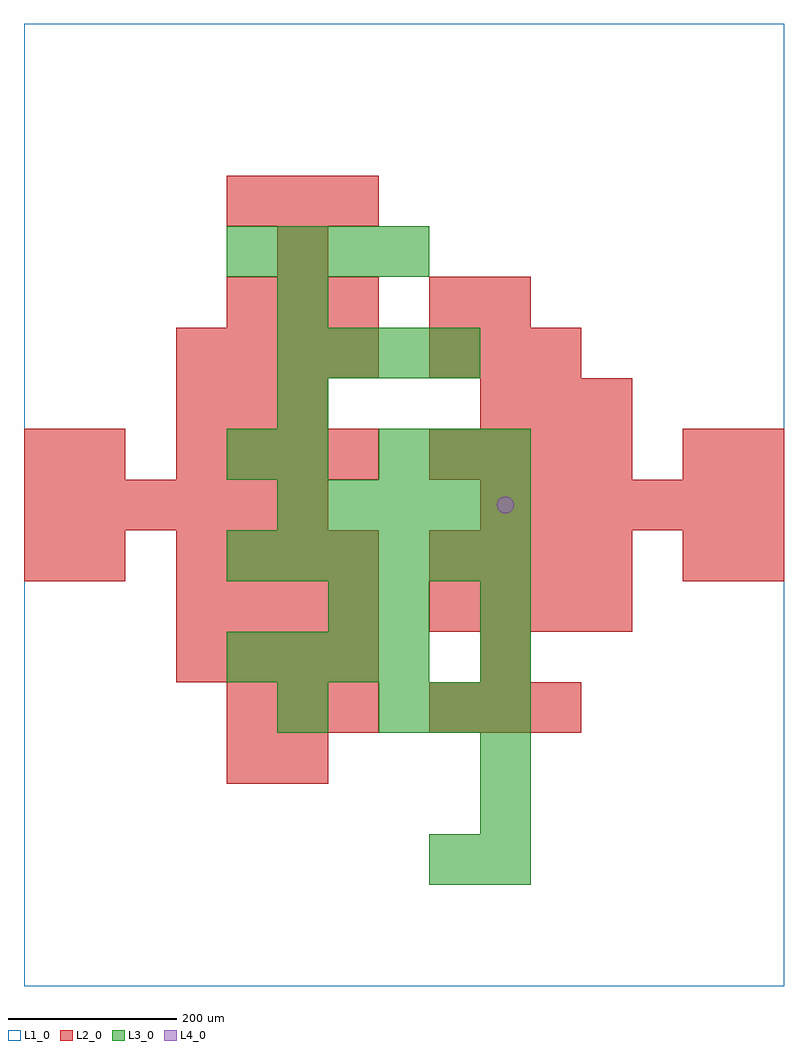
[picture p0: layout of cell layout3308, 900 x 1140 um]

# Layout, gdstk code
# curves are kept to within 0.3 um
import gdstk
lib = gdstk.Library(unit=1e-6, precision=1e-09)
def R(c, l, rs):  # rectangles x0, y0, x1, y1
    for r in rs: c.add(gdstk.rectangle(r[:2], r[2:], *l))
def A(c, l, x, y, w, h, nx, ny, dx, dy):  # array of equal rectangles
    R(c, l, [(x+i*dx, y+j*dy, x+i*dx+w, y+j*dy+h) for i in range(nx) for j in range(ny)])
def P(c, l, *ps):  # polygons
    for p in ps: c.add(gdstk.Polygon(p, *l))
L1_0 = (1, 0)
L2_0 = (2, 0)
L3_0 = (3, 0)
L4_0 = (4, 0)

layout3308 = lib.new_cell('layout3308')
R(layout3308, L1_0, [(0,0,900,1140)])
A(layout3308, L2_0, 240, 300, 60, 60, 3, 2, 60, 480)
A(layout3308, L2_0, 480, 300, 60, 60, 3, 2, 60, 420)
A(layout3308, L2_0, 180, 360, 60, 60, 4, 3, 60, 60)
A(layout3308, L2_0, 480, 420, 60, 60, 4, 2, 60, 60)
A(layout3308, L2_0, 0, 540, 60, 60, 6, 1, 60, 0)
A(layout3308, L2_0, 540, 540, 60, 60, 6, 1, 60, 0)
A(layout3308, L2_0, 180, 600, 60, 60, 4, 2, 60, 120)
A(layout3308, L2_0, 480, 600, 60, 60, 4, 1, 60, 0)
A(layout3308, L2_0, 180, 660, 60, 60, 3, 1, 60, 0)
A(layout3308, L2_0, 540, 660, 60, 60, 3, 1, 60, 0)
A(layout3308, L2_0, 240, 900, 60, 60, 3, 1, 60, 0)
R(layout3308, L2_0, [(240,240,300,300), (300,240,360,300), (540,360,600,420), (0,480,60,540), (60,480,120,540), (780,480,840,540), (840,480,900,540), (0,600,60,660), (60,600,120,660), (780,600,840,660), (840,600,900,660), (480,780,540,840), (540,780,600,840), (300,840,360,900)])
A(layout3308, L3_0, 540, 120, 60, 60, 1, 3, 0, 60)
A(layout3308, L3_0, 420, 300, 60, 60, 3, 2, 60, 300)
A(layout3308, L3_0, 240, 360, 60, 60, 4, 2, 60, 480)
A(layout3308, L3_0, 240, 480, 60, 60, 6, 1, 60, 0)
A(layout3308, L3_0, 300, 540, 60, 60, 5, 1, 60, 0)
A(layout3308, L3_0, 300, 720, 60, 60, 4, 1, 60, 0)
R(layout3308, L3_0, [(480,120,540,180), (300,300,360,360), (540,360,600,420), (360,420,420,480), (420,420,480,480), (540,420,600,480), (240,600,300,660), (300,600,360,660), (300,660,360,720), (300,780,360,840)])
P(layout3308, L4_0, [(580,570),(579.239,573.827),(577.071,577.071),(573.827,579.239),(570,580),(566.173,579.239),(562.929,577.071),(560.761,573.827),(560,570),(560.761,566.173),(562.929,562.929),(566.173,560.761),(570,560),(573.827,560.761),(577.071,562.929),(579.239,566.173)])

lib.write_gds('layout3308.gds')
